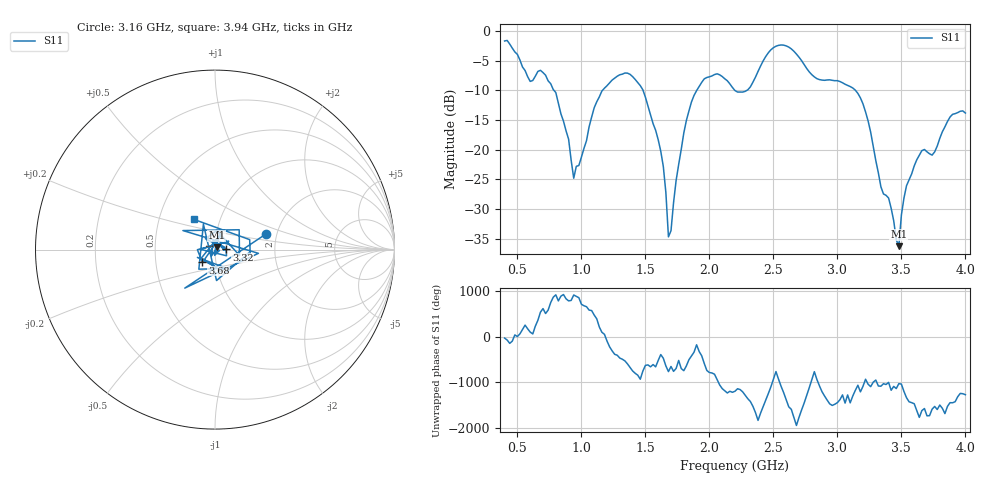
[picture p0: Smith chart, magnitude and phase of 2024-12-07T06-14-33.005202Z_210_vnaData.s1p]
!Created with skrf (http://scikit-rf.org).
# Hz S RI R 50.0
!freq ReS11 ImS11
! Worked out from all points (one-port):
!   181 points, 400 MHz to 4 GHz, reference 50 ohm
!   lowest |S11| = -36.3 dB at 3.48 GHz (marker M1), VSWR 1.03, Z = 50.9 + j1.25 ohm
!   |S11| at or under -10 dB: 785.2 MHz to 1.165 GHz (380 MHz wide, 39 % of centre); 1.481 GHz to 1.901 GHz (420 MHz wide, 24.8 % of centre); 3.141 GHz to end of sweep (the widest 3 of 4)
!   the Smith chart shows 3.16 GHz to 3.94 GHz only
!   S11 on the Smith chart (normalised r, x): 3.16 GHz: 1.75, +0.34; 3.32 GHz: 1.14, +0.00; 3.68 GHz: 0.86, -0.12; 3.94 GHz: 0.75, +0.26
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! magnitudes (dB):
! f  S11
! 400 MHz  -1.7
! 600 MHz  -8.5
! 720 MHz  -7.5
! 860 MHz  -15.2
! 940 MHz  -24.8
! 1.12 GHz  -11.9
! 1.3 GHz  -7.4
! 1.46 GHz  -9.2
! 1.58 GHz  -16.7
! 1.64 GHz  -22.9
! 1.68 GHz  -34.7
! 1.76 GHz  -22.5
! 1.86 GHz  -12.0
! 1.96 GHz  -8.1
! 2.2 GHz  -10.0
! 2.3 GHz  -9.9
! 2.5 GHz  -2.8
! 2.66 GHz  -3.4
! 3.1 GHz  -9.4
! 3.16 GHz  -10.5
! 3.32 GHz  -23.9
! 3.48 GHz  -36.3
! 3.52 GHz  -28.2
! 3.56 GHz  -25.1
! 3.68 GHz  -20.0
! 3.74 GHz  -20.9
! 3.94 GHz  -13.8
! 4 GHz  -13.8
